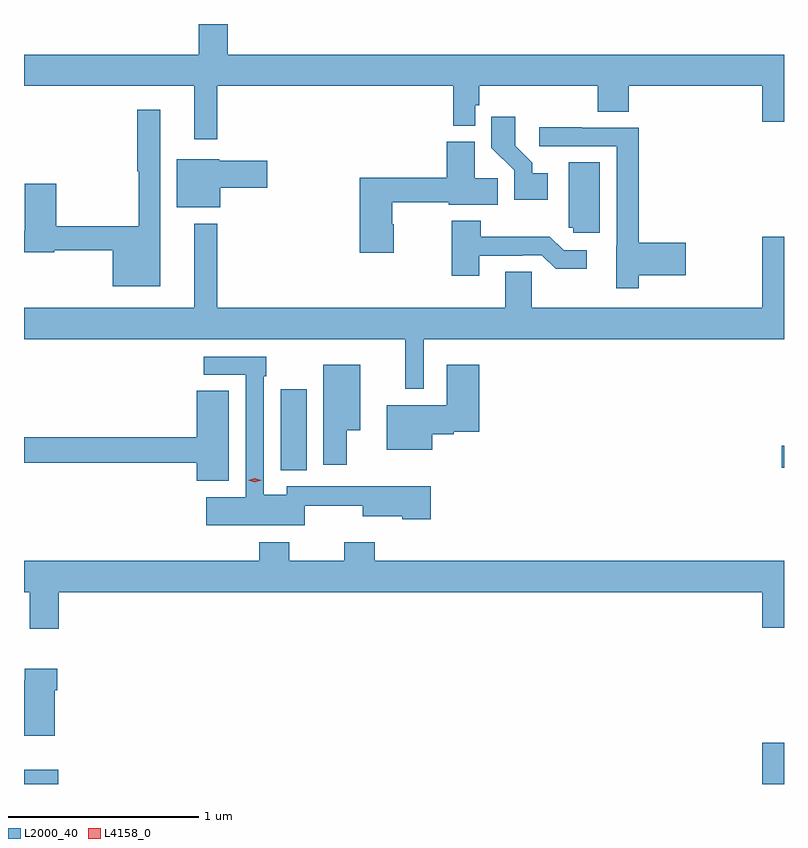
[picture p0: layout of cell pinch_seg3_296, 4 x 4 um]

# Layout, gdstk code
import gdstk
lib = gdstk.Library(unit=1e-6, precision=1e-09)
def R(c, l, rs):  # rectangles x0, y0, x1, y1
    for r in rs: c.add(gdstk.rectangle(r[:2], r[2:], *l))
def P(c, l, *ps):  # polygons
    for p in ps: c.add(gdstk.Polygon(p, *l))
L2000_40 = (2000, 40)
L4158_0 = (4158, 0)

pinch_seg3_296 = lib.new_cell('pinch_seg3_296')
R(pinch_seg3_296, L2000_40, [(976.306,717.222,976.486,717.297), (980.192,717.222,980.306,717.439), (977.657,718.873,977.794,719.299), (980.294,718.887,980.306,719.001)])
P(pinch_seg3_296, L2000_40, [(977.323,720.896),(978.565,720.896),(978.565,720.686),(978.681,720.686),(978.681,720.795),(978.701,720.795),(978.701,720.896),(979.325,720.896),(979.325,720.76),(979.49,720.76),(979.49,720.896),(980.192,720.896),(980.192,720.708),(980.306,720.708),(980.306,721.06),(977.378,721.06),(977.378,721.222),(977.225,721.222),(977.225,721.06),(976.306,721.06),(976.306,720.896),(977.201,720.896),(977.201,720.615),(977.323,720.615)],
  [(977.023,720.772),(976.902,720.772),(976.902,720.447),(976.909,720.447),(976.909,720.158),(976.476,720.158),(976.476,720.382),(976.31,720.382),(976.31,720.133),(976.306,720.133),(976.306,720.022),(976.464,720.022),(976.464,720.03),(976.772,720.03),(976.772,719.843),(977.023,719.843)],
  [(979.063,720.436),(978.982,720.436),(978.982,720.491),(978.892,720.581),(978.892,720.733),(978.766,720.733),(978.766,720.57),(978.885,720.451),(978.885,720.296),(979.063,720.296)],
  [(979.541,719.9),(979.789,719.9),(979.789,720.071),(979.541,720.071),(979.541,720.675),(979.241,720.675),(979.241,720.678),(979.017,720.678),(979.017,720.579),(979.425,720.579),(979.425,720.054),(979.424,720.054),(979.424,719.832),(979.541,719.832)],
  [(978.252,720.168),(978.244,720.168),(978.244,720.283),(978.542,720.283),(978.542,720.272),(978.8,720.272),(978.8,720.41),(978.679,720.41),(978.679,720.601),(978.53,720.601),(978.53,720.412),(978.074,720.412),(978.074,720.018),(978.252,720.018)],
  [(977.338,720.359),(977.587,720.359),(977.587,720.501),(977.334,720.501),(977.334,720.511),(977.111,720.511),(977.111,720.257),(977.338,720.257)],
  [(979.336,720.494),(979.172,720.494),(979.172,720.15),(979.197,720.15),(979.197,720.123),(979.336,720.123)],
  [(978.703,720.003),(978.932,720.003),(978.932,720.006),(979.032,720.006),(979.105,719.933),(979.267,719.933),(979.267,720.03),(979.146,720.03),(979.073,720.103),(978.711,720.103),(978.711,720.187),(978.556,720.187),(978.556,719.898),(978.703,719.898)],
  [(978.411,719.564),(980.306,719.564),(980.306,720.103),(980.192,720.103),(980.192,719.728),(978.978,719.728),(978.978,719.918),(978.839,719.918),(978.839,719.728),(977.323,719.728),(977.323,720.172),(977.201,720.172),(977.201,719.728),(976.306,719.728),(976.306,719.564),(978.313,719.564),(978.313,719.301),(978.411,719.301)],
  [(977.784,718.687),(978.089,718.687),(978.089,718.631),(978.297,718.631),(978.297,718.616),(978.446,718.616),(978.446,718.789),(978.193,718.789),(978.193,718.788),(977.688,718.788),(977.688,718.744),(977.568,718.744),(977.568,719.369),(977.581,719.369),(977.581,719.472),(977.253,719.472),(977.253,719.376),(977.472,719.376),(977.472,718.732),(977.265,718.732),(977.265,718.583),(977.784,718.583)],
  [(978.454,719.063),(978.567,719.063),(978.567,719.075),(978.701,719.075),(978.701,719.428),(978.53,719.428),(978.53,719.215),(978.215,719.215),(978.215,718.982),(978.454,718.982)],
  [(978.004,719.084),(978.076,719.084),(978.076,719.428),(977.882,719.428),(977.882,718.902),(978.004,718.902)],
  [(977.383,719.291),(977.216,719.291),(977.216,719.048),(976.306,719.048),(976.306,718.912),(977.216,718.912),(977.216,718.817),(977.383,718.817)],
  [(976.49,718.232),(980.192,718.232),(980.192,718.044),(980.306,718.044),(980.306,718.396),(978.152,718.396),(978.152,718.495),(977.992,718.495),(977.992,718.396),(977.703,718.396),(977.703,718.495),(977.543,718.495),(977.543,718.396),(976.306,718.396),(976.306,718.232),(976.337,718.232),(976.337,718.038),(976.49,718.038)],
  [(976.468,717.716),(976.481,717.716),(976.481,717.829),(976.31,717.829),(976.31,717.768),(976.306,717.768),(976.306,717.476),(976.468,717.476)])
P(pinch_seg3_296, L4158_0, [(977.521,718.81),(977.486,718.82),(977.486,718.82),(977.486,718.821),(977.521,718.83),(977.555,718.821),(977.556,718.82),(977.555,718.82)])

lib.write_gds('pinch_seg3_296.gds')
